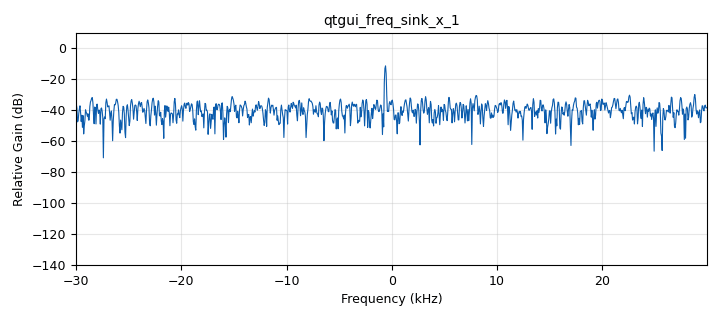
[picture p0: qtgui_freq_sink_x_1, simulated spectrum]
options:
  parameters:
    generate_options: qt_gui
    id: Source
    output_language: python
    title: Not titled yet
  states: {}

blocks:
- name: Distance_m
  id: variable
  parameters:
    value: '384400000'
  states: {}
- name: Freq_RF
  id: variable
  parameters:
    value: 6e9
  states: {}
- name: Min_Phase
  id: variable
  parameters:
    value: '100'
  states: {}
- name: Path_Loss
  id: variable
  parameters:
    value: 20*math.log10(Distance_m) + 20*math.log10(Freq_RF) - 147.55
  states: {}
- name: samp_rate
  id: variable
  parameters:
    value: '60000'
  states: {}
- name: uiselect
  id: variable_qtgui_chooser
  parameters:
    gui_hint: 0,3
    label: Select Source
    label0: SoundCard
    label1: TestSignal
    num_opts: '2'
    option0: '0'
    option1: '1'
    type: int
    value: '0'
  states: {}
- name: variable_qtgui_chooser_0
  id: variable_qtgui_chooser
  parameters:
    num_opts: '3'
    option0: '0'
    option1: '1'
    option2: '2'
    type: int
    value: '0'
  states: {}
- name: analog_noise_source_x_0
  id: analog_noise_source_x
  parameters:
    amp: '1'
    noise_type: analog.GR_GAUSSIAN
    seed: '0'
    type: complex
  states: {}
- name: analog_sig_source_x_0
  id: analog_sig_source_x
  parameters:
    amp: '1'
    freq: Freq_RF
    offset: '0'
    phase: '0'
    samp_rate: samp_rate
    type: complex
    waveform: analog.GR_COS_WAVE
  states: {}
- name: blocks_add_xx_0
  id: blocks_add_xx
  parameters:
    type: complex
  states: {}
- name: blocks_delay_0
  id: blocks_delay
  parameters:
    delay: '0'
    type: complex
  states: {}
- name: blocks_multiply_const_vxx_0
  id: blocks_multiply_const_vxx
  parameters:
    const: '1'
    type: complex
  states: {}
- name: blocks_throttle2_0
  id: blocks_throttle2
  parameters:
    samples_per_second: samp_rate
    type: complex
  states: {}
- name: blocks_throttle2_1
  id: blocks_throttle2
  parameters:
    samples_per_second: samp_rate
    type: complex
  states: {}
- name: channels_fading_model_0
  id: channels_fading_model
  parameters:
    LOS: 'False'
    N: '8'
    fDTs: 10.0/samp_rate
    seed: '0'
  states: {}
- name: import_0
  id: import
  parameters:
    imports: import math
  states: {}
- name: qtgui_freq_sink_x_0
  id: qtgui_freq_sink_x
  parameters:
    bw: samp_rate
    fc: '0'
    fftsize: '1024'
    type: complex
  states: {}
- name: qtgui_freq_sink_x_1
  id: qtgui_freq_sink_x
  parameters:
    bw: samp_rate
    fc: '0'
    fftsize: '1024'
    type: complex
  states: {}

connections:
- [analog_noise_source_x_0, '0', blocks_throttle2_1, '0']
- [analog_sig_source_x_0, '0', blocks_throttle2_0, '0']
- [blocks_add_xx_0, '0', channels_fading_model_0, '0']
- [blocks_delay_0, '0', qtgui_freq_sink_x_1, '0']
- [blocks_multiply_const_vxx_0, '0', blocks_delay_0, '0']
- [blocks_throttle2_0, '0', blocks_add_xx_0, '0']
- [blocks_throttle2_1, '0', blocks_add_xx_0, '1']
- [channels_fading_model_0, '0', blocks_multiply_const_vxx_0, '0']

metadata:
  file_format: 1
  grc_version: 3.10.7.0
